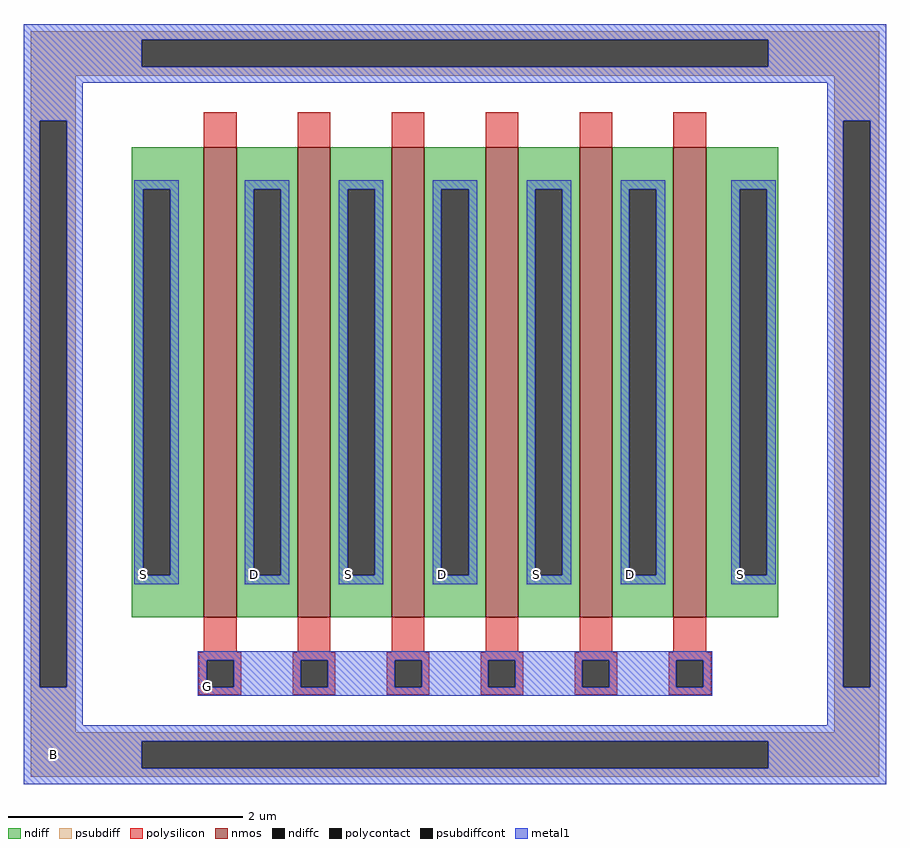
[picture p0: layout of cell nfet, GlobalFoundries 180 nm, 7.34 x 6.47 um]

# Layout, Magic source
magic
tech gf180mcuD
magscale 1 10
<< nmos >>
rect 38 0 94 800
rect 198 0 254 800
rect 358 0 414 800
rect 518 0 574 800
rect 678 0 734 800
rect 838 0 894 800
<< ndiff >>
rect -84 729 38 800
rect -84 71 -65 729
rect -19 71 38 729
rect -84 0 38 71
rect 94 729 198 800
rect 94 71 123 729
rect 169 71 198 729
rect 94 0 198 71
rect 254 729 358 800
rect 254 71 283 729
rect 329 71 358 729
rect 254 0 358 71
rect 414 729 518 800
rect 414 71 443 729
rect 489 71 518 729
rect 414 0 518 71
rect 574 729 678 800
rect 574 71 603 729
rect 649 71 678 729
rect 574 0 678 71
rect 734 729 838 800
rect 734 71 763 729
rect 809 71 838 729
rect 734 0 838 71
rect 894 729 1016 800
rect 894 71 951 729
rect 997 71 1016 729
rect 894 0 1016 71
<< ndiffc >>
rect -65 71 -19 729
rect 123 71 169 729
rect 283 71 329 729
rect 443 71 489 729
rect 603 71 649 729
rect 763 71 809 729
rect 951 71 997 729
<< psubdiff >>
rect -256 983 1188 998
rect -256 937 -67 983
rect 999 937 1188 983
rect -256 922 1188 937
rect -256 845 -180 922
rect -256 -119 -241 845
rect -195 -119 -180 845
rect 1112 845 1188 922
rect -256 -196 -180 -119
rect 1112 -119 1127 845
rect 1173 -119 1188 845
rect 1112 -196 1188 -119
rect -256 -211 1188 -196
rect -256 -257 -67 -211
rect 999 -257 1188 -211
rect -256 -272 1188 -257
<< psubdiffcont >>
rect -67 937 999 983
rect -241 -119 -195 845
rect 1127 -119 1173 845
rect -67 -257 999 -211
<< polysilicon >>
rect 38 800 94 860
rect 198 800 254 860
rect 358 800 414 860
rect 518 800 574 860
rect 678 800 734 860
rect 838 800 894 860
rect 38 -60 94 0
rect 198 -60 254 0
rect 358 -60 414 0
rect 518 -60 574 0
rect 678 -60 734 0
rect 838 -60 894 0
rect 30 -73 102 -60
rect 30 -119 43 -73
rect 89 -119 102 -73
rect 30 -132 102 -119
rect 190 -73 262 -60
rect 190 -119 203 -73
rect 249 -119 262 -73
rect 190 -132 262 -119
rect 350 -73 422 -60
rect 350 -119 363 -73
rect 409 -119 422 -73
rect 350 -132 422 -119
rect 510 -73 582 -60
rect 510 -119 523 -73
rect 569 -119 582 -73
rect 510 -132 582 -119
rect 670 -73 742 -60
rect 670 -119 683 -73
rect 729 -119 742 -73
rect 670 -132 742 -119
rect 830 -73 902 -60
rect 830 -119 843 -73
rect 889 -119 902 -73
rect 830 -132 902 -119
<< polycontact >>
rect 43 -119 89 -73
rect 203 -119 249 -73
rect 363 -119 409 -73
rect 523 -119 569 -73
rect 683 -119 729 -73
rect 843 -119 889 -73
<< metal1 >>
rect -268 983 1200 1010
rect -268 937 -67 983
rect 999 937 1200 983
rect -268 910 1200 937
rect -268 845 -168 910
rect -268 -119 -241 845
rect -195 -119 -168 845
rect 1100 845 1200 910
rect -80 729 -4 744
rect -80 71 -65 729
rect -19 71 -4 729
rect -80 56 -4 71
rect 108 729 184 744
rect 108 71 123 729
rect 169 71 184 729
rect 108 56 184 71
rect 268 729 344 744
rect 268 71 283 729
rect 329 71 344 729
rect 268 56 344 71
rect 428 729 504 744
rect 428 71 443 729
rect 489 71 504 729
rect 428 56 504 71
rect 588 729 664 744
rect 588 71 603 729
rect 649 71 664 729
rect 588 56 664 71
rect 748 729 824 744
rect 748 71 763 729
rect 809 71 824 729
rect 748 56 824 71
rect 936 729 1012 744
rect 936 71 951 729
rect 997 71 1012 729
rect 936 56 1012 71
rect -268 -184 -168 -119
rect 28 -73 904 -58
rect 28 -119 43 -73
rect 89 -119 203 -73
rect 249 -119 363 -73
rect 409 -119 523 -73
rect 569 -119 683 -73
rect 729 -119 843 -73
rect 889 -119 904 -73
rect 28 -134 904 -119
rect 1100 -119 1127 845
rect 1173 -119 1200 845
rect 1100 -184 1200 -119
rect -268 -211 1200 -184
rect -268 -257 -67 -211
rect 999 -257 1200 -211
rect -268 -284 1200 -257
<< labels >>
flabel metal1 s 44 -118 44 -118 2 FreeSans 73 0 0 0 G
port 1 nsew
flabel metal1 s -218 -234 -218 -234 2 FreeSans 73 0 0 0 B
port 2 nsew
flabel metal1 s 124 72 124 72 2 FreeSans 73 0 0 0 D
port 3 nsew
flabel metal1 s -64 72 -64 72 2 FreeSans 73 0 0 0 S
port 4 nsew
flabel metal1 s 284 72 284 72 2 FreeSans 73 0 0 0 S
port 4 nsew
flabel metal1 s 952 72 952 72 2 FreeSans 73 0 0 0 S
port 4 nsew
flabel metal1 s 604 72 604 72 2 FreeSans 73 0 0 0 S
port 4 nsew
flabel metal1 s 444 72 444 72 2 FreeSans 73 0 0 0 D
port 3 nsew
flabel metal1 s 764 72 764 72 2 FreeSans 73 0 0 0 D
port 3 nsew
<< properties >>
string path -1.340 4.800 5.750 4.800 5.750 -1.170 -1.090 -1.170 -1.090 4.550 
<< end >>
